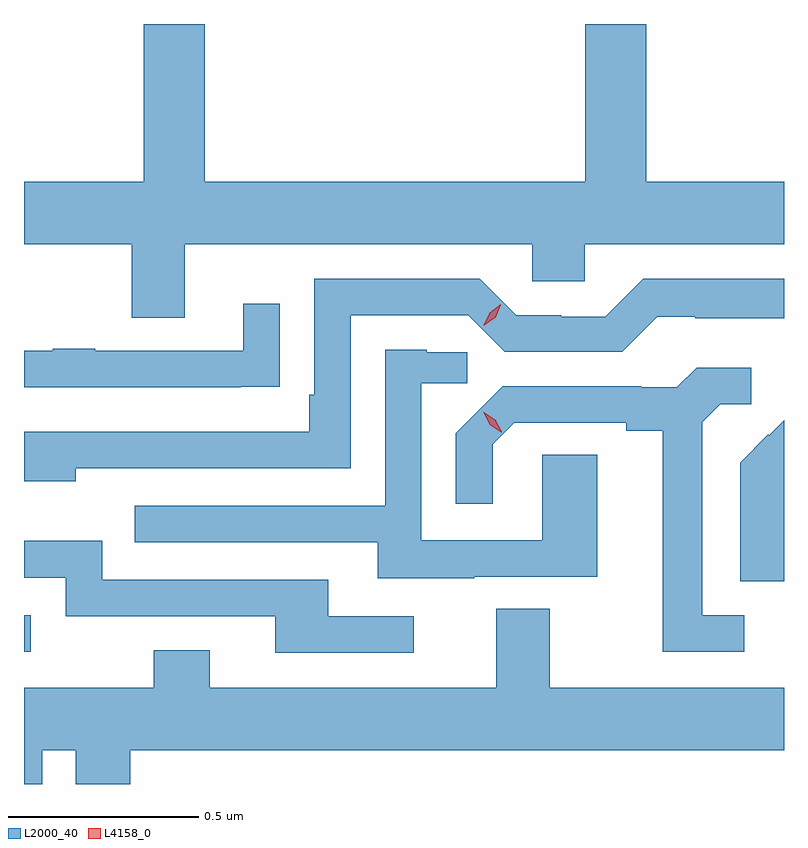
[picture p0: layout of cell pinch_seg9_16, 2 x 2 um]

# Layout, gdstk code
import gdstk
lib = gdstk.Library(unit=1e-6, precision=1e-09)
def R(c, l, rs):  # rectangles x0, y0, x1, y1
    for r in rs: c.add(gdstk.rectangle(r[:2], r[2:], *l))
def P(c, l, *ps):  # polygons
    for p in ps: c.add(gdstk.Polygon(p, *l))
L2000_40 = (2000, 40)
L4158_0 = (4158, 0)

pinch_seg9_16 = lib.new_cell('pinch_seg9_16')
R(pinch_seg9_16, L2000_40, [(1144.918,1206.003,1144.936,1206.099)])
P(pinch_seg9_16, L2000_40, [(1145.341,1207.076),(1146.255,1207.076),(1146.255,1206.978),(1146.393,1206.978),(1146.393,1207.076),(1146.918,1207.076),(1146.918,1207.24),(1146.555,1207.24),(1146.555,1207.655),(1146.395,1207.655),(1146.395,1207.24),(1145.393,1207.24),(1145.393,1207.655),(1145.233,1207.655),(1145.233,1207.24),(1144.918,1207.24),(1144.918,1207.076),(1145.201,1207.076),(1145.201,1206.882),(1145.341,1206.882)],
  [(1145.054,1206.486),(1145.778,1206.486),(1145.778,1206.888),(1146.087,1206.888),(1146.183,1206.792),(1146.492,1206.792),(1146.585,1206.885),(1146.685,1206.885),(1146.685,1206.881),(1146.918,1206.881),(1146.918,1206.985),(1146.547,1206.985),(1146.447,1206.885),(1146.332,1206.885),(1146.332,1206.888),(1146.213,1206.888),(1146.117,1206.984),(1145.682,1206.984),(1145.682,1206.679),(1145.669,1206.679),(1145.669,1206.582),(1144.918,1206.582),(1144.918,1206.452),(1145.054,1206.452)],
  [(1145.489,1206.7),(1145.591,1206.7),(1145.591,1206.919),(1145.495,1206.919),(1145.495,1206.795),(1145.105,1206.795),(1145.105,1206.8),(1144.993,1206.8),(1144.993,1206.795),(1144.918,1206.795),(1144.918,1206.699),(1145.489,1206.699)],
  [(1146.103,1206.201),(1146.427,1206.201),(1146.427,1206.521),(1146.282,1206.521),(1146.282,1206.297),(1145.964,1206.297),(1145.964,1206.71),(1146.084,1206.71),(1146.084,1206.791),(1145.978,1206.791),(1145.978,1206.798),(1145.868,1206.798),(1145.868,1206.387),(1145.209,1206.387),(1145.209,1206.291),(1145.849,1206.291),(1145.849,1206.197),(1146.103,1206.197)],
  [(1146.814,1206.099),(1146.703,1206.099),(1146.703,1206.607),(1146.75,1206.654),(1146.832,1206.654),(1146.832,1206.751),(1146.688,1206.751),(1146.636,1206.699),(1146.542,1206.699),(1146.542,1206.702),(1146.178,1206.702),(1146.054,1206.578),(1146.054,1206.393),(1146.151,1206.393),(1146.151,1206.549),(1146.208,1206.606),(1146.503,1206.606),(1146.503,1206.584),(1146.599,1206.584),(1146.599,1206.003),(1146.814,1206.003)],
  [(1146.918,1206.612),(1146.879,1206.573),(1146.877,1206.575),(1146.803,1206.501),(1146.803,1206.188),(1146.918,1206.188)],
  [(1145.944,1206.096),(1145.719,1206.096),(1145.719,1206.192),(1145.124,1206.192),(1145.124,1206.295),(1144.918,1206.295),(1144.918,1206.198),(1145.028,1206.198),(1145.028,1206.096),(1145.579,1206.096),(1145.579,1206),(1145.944,1206)],
  [(1144.966,1205.744),(1145.054,1205.744),(1145.054,1205.655),(1145.198,1205.655),(1145.198,1205.744),(1146.918,1205.744),(1146.918,1205.908),(1146.301,1205.908),(1146.301,1206.116),(1146.161,1206.116),(1146.161,1205.908),(1145.407,1205.908),(1145.407,1206.007),(1145.26,1206.007),(1145.26,1205.908),(1144.918,1205.908),(1144.918,1205.655),(1144.966,1205.655)])
P(pinch_seg9_16, L4158_0, [(1146.174,1206.581),(1146.143,1206.601),(1146.126,1206.634),(1146.126,1206.634),(1146.126,1206.634),(1146.158,1206.614),(1146.175,1206.582),(1146.175,1206.581)],
  [(1146.128,1206.862),(1146.128,1206.862),(1146.143,1206.895),(1146.173,1206.917),(1146.173,1206.917),(1146.173,1206.916),(1146.159,1206.883),(1146.129,1206.862)])

lib.write_gds('pinch_seg9_16.gds')
